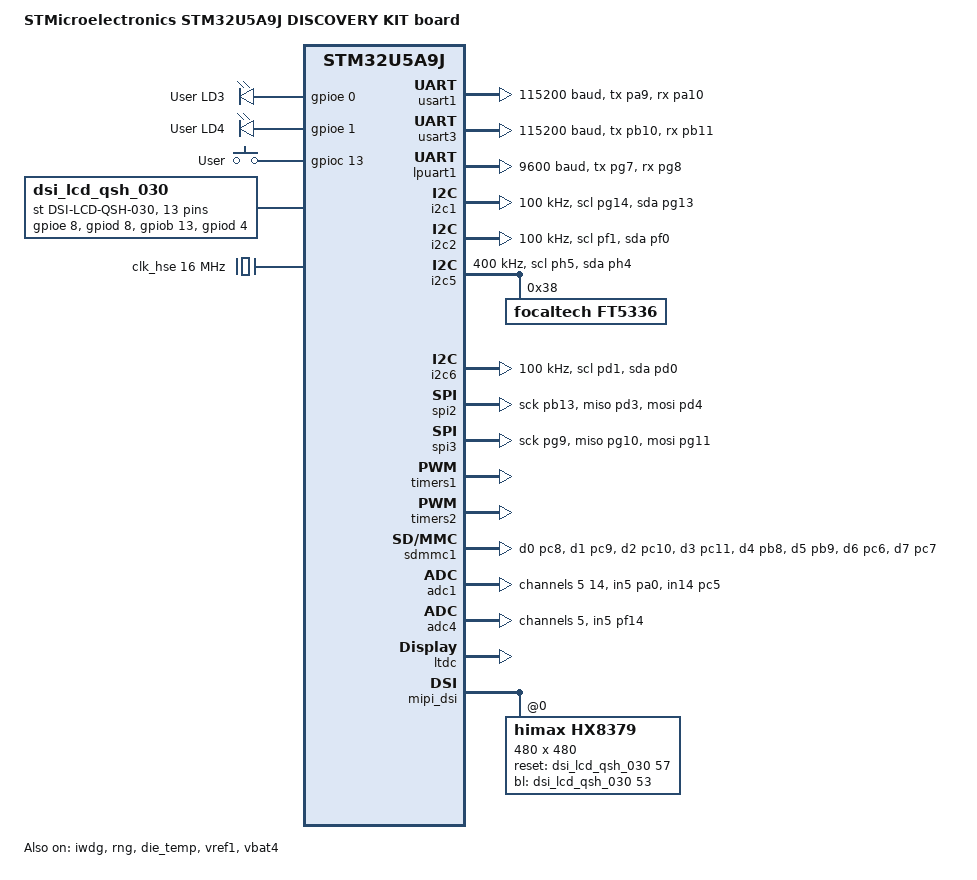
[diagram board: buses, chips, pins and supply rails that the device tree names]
/*
 * Copyright (c) 2024 MUXen <jn.coueron@muxen.fr>
 * Copyright (c) 2023 STMicroelectronics
 *
 * SPDX-License-Identifier: Apache-2.0
 */

/dts-v1/;
#include <st/u5/stm32u5a9Xj.dtsi>
#include <st/u5/stm32u5a9njhxq-pinctrl.dtsi>
#include <zephyr/dt-bindings/input/input-event-codes.h>

/ {
	model = "STMicroelectronics STM32U5A9J DISCOVERY KIT board";
	compatible = "st,stm32u5a9j-dk";

	chosen {
		zephyr,console = &usart1;
		zephyr,shell-uart = &usart1;
		zephyr,sram = &sram0;
		zephyr,flash = &flash0;
		zephyr,code-partition = &slot0_partition;
		zephyr,display = &ltdc;
	};

	leds {
		compatible = "gpio-leds";
		green_led_0: led_3 {
			gpios = <&gpioe 0 GPIO_ACTIVE_HIGH>;
			label = "User LD3";
		};
		red_led_0: led_4 {
			gpios = <&gpioe 1 GPIO_ACTIVE_HIGH>;
			label = "User LD4";
		};
	};

	gpio_keys {
		compatible = "gpio-keys";
		user_button: button_0 {
			label = "User";
			gpios = <&gpioc 13 (GPIO_ACTIVE_HIGH | GPIO_PULL_DOWN)>;
			zephyr,code = <INPUT_KEY_0>;
		};
	};

	dsi_lcd_qsh_030: connector_dsi_lcd {
		compatible = "st,dsi-lcd-qsh-030";
		#gpio-cells = <2>;
		gpio-map-mask = <0xffffffff 0xffffffc0>;
		gpio-map-pass-thru = <0 0x3f>;
		gpio-map = <4 0 &gpioe 8 0>,	/* TOUCH_INT */
			<22 0 &gpiod 8 0>,	/* SPI chip SEL */
			<24 0 &gpiob 13 0>,	/* SPI CLK */
			<26 0 &gpiod 4 0>,	/* SPI MOSI */
			<28 0 &gpiod 11 0>,	/* SPI DCX */
			<35 0 &gpioe 5 0>,	/* SCLK/MCLK */
			<37 0 &gpioe 4 0>,	/* LRCLK */
			<40 0 &gpioh 4 0>,	/* I2C5_SDA */
			<43 0 &gpioi 7 0>,	/* SWIRE */
			<44 0 &gpioh 5 0>,	/* I2C5_SCL */
			<49 0 &gpiof 11 0>,	/* DSI_TE */
			<53 0 &gpioi 6 0>,	/* LCD_BL_CTRL */
			<57 0 &gpiod 5 0>;	/* DSI_RESET */
	};

	aliases {
		led0 = &green_led_0;
		led1 = &red_led_0;
		sw0 = &user_button;
		sdhc0 = &sdmmc1;
		watchdog0 = &iwdg;
		die-temp0 = &die_temp;
		volt-sensor0 = &vref1;
		volt-sensor1 = &vbat4;
	};
};

&clk_hsi48 {
	status = "okay";
};

&clk_hse {
	clock-frequency = <DT_FREQ_M(16)>;
	status = "okay";
};

&clk_msis {
	status = "okay";
	msi-range = <4>; /* 4MHz (reset value) */
	msi-pll-mode;
};

&pll1 {
	div-m = <1>;
	mul-n = <80>;
	div-p = <2>;
	div-q = <2>;
	div-r = <2>;
	clocks = <&clk_msis>;
	status = "okay";
};

&pll3 {
	status = "okay";
	clocks = <&clk_hse>;
	div-m = <4>;
	mul-n = <125>;
	div-p = <8>;
	div-q = <8>;
	div-r = <24>; /* 27.5 MHz */
	fracn = <1>;
};

&rcc {
	clocks = <&pll1>;
	clock-frequency = <DT_FREQ_M(160)>;
	ahb-prescaler = <1>;
	apb1-prescaler = <1>;
	apb2-prescaler = <1>;
	apb3-prescaler = <1>;
};

&usart1 {
	pinctrl-0 = <&usart1_tx_pa9 &usart1_rx_pa10>;
	pinctrl-names = "default";
	current-speed = <115200>;
	status = "okay";
};

uart0: &usart3 {
	pinctrl-0 = <&usart3_tx_pb10 &usart3_rx_pb11>;
	pinctrl-names = "default";
	current-speed = <115200>;
	status = "okay";
};

&lpuart1 {
	pinctrl-0 = <&lpuart1_tx_pg7 &lpuart1_rx_pg8>;
	pinctrl-names = "default";
	current-speed = <9600>;
	status = "okay";
};

&i2c1 {
	pinctrl-0 = <&i2c1_scl_pg14 &i2c1_sda_pg13>;
	pinctrl-names = "default";
	status = "okay";
	clock-frequency = <I2C_BITRATE_STANDARD>;
};

&i2c2 {
	pinctrl-0 = <&i2c2_scl_pf1 &i2c2_sda_pf0>;
	pinctrl-names = "default";
	status = "okay";
	clock-frequency = <I2C_BITRATE_STANDARD>;
};

&i2c5 {
	pinctrl-0 = <&i2c5_scl_ph5 &i2c5_sda_ph4>;
	pinctrl-names = "default";
	clock-frequency = <I2C_BITRATE_FAST>;
	status = "okay";

	ft5336: ft5336@38 {
		compatible = "focaltech,ft5336";
		reg = <0x38>;
	};
};

&i2c6 {
	pinctrl-0 = <&i2c6_scl_pd1 &i2c6_sda_pd0>;
	pinctrl-names = "default";
	status = "okay";
	clock-frequency = <I2C_BITRATE_STANDARD>;
};

&spi2 {
	pinctrl-0 = <&spi2_sck_pb13 &spi2_miso_pd3 &spi2_mosi_pd4>;
	pinctrl-names = "default";
	cs-gpios = <&gpiob 12 (GPIO_ACTIVE_LOW | GPIO_PULL_UP)>;
	status = "okay";
};

&spi3 {
	pinctrl-0 = <&spi3_sck_pg9 &spi3_miso_pg10 &spi3_mosi_pg11>;
	pinctrl-names = "default";
	cs-gpios = <&gpiog 15 (GPIO_ACTIVE_LOW | GPIO_PULL_UP)>;
	status = "okay";
};

&timers1 {
	st,prescaler = <1>;
	status = "okay";

	pwm1: pwm {
		status = "okay";
		pinctrl-0 = <&tim1_ch2_pe11>;
		pinctrl-names = "default";
	};
};

&timers2 {
	st,prescaler = <1>;
	status = "okay";

	pwm2: pwm {
		status = "okay";
		pinctrl-0 = <&tim2_ch4_pa3>;
		pinctrl-names = "default";
	};
};

/* Connected to onboard 4-Gbyte eMMC flash memory */
&sdmmc1 {
	pinctrl-0 = <&sdmmc1_d0_pc8 &sdmmc1_d1_pc9
		&sdmmc1_d2_pc10 &sdmmc1_d3_pc11
		&sdmmc1_d4_pb8 &sdmmc1_d5_pb9
		&sdmmc1_d6_pc6 &sdmmc1_d7_pc7
		&sdmmc1_ck_pc12 &sdmmc1_cmd_pd2>;
	pinctrl-names = "default";
	status = "okay";
};

&adc1 {
	pinctrl-0 = <&adc1_in5_pa0 &adc1_in14_pc5>;
	pinctrl-names = "default";
	st,adc-clock-source = <ASYNC>;
	st,adc-prescaler = <1>;
	status = "okay";

	#address-cells = <1>;
	#size-cells = <0>;

	channel@5 {
		reg = <0x5>;
		zephyr,gain = "ADC_GAIN_1";
		zephyr,reference = "ADC_REF_INTERNAL";
		zephyr,acquisition-time = <ADC_ACQ_TIME_DEFAULT>;
		zephyr,resolution = <14>;
	};

	channel@e {
		reg = <0xe>;
		zephyr,gain = "ADC_GAIN_1";
		zephyr,reference = "ADC_REF_INTERNAL";
		zephyr,acquisition-time = <ADC_ACQ_TIME_DEFAULT>;
		zephyr,resolution = <14>;
	};
};

&adc4 {
	pinctrl-0 = <&adc4_in5_pf14>;
	pinctrl-names = "default";
	st,adc-clock-source = <ASYNC>;
	st,adc-prescaler = <1>;
	status = "okay";

	#address-cells = <1>;
	#size-cells = <0>;

	channel@5 {
		reg = <0x5>;
		zephyr,gain = "ADC_GAIN_1";
		zephyr,reference = "ADC_REF_INTERNAL";
		zephyr,acquisition-time = <ADC_ACQ_TIME_DEFAULT>;
		zephyr,resolution = <12>;
	};
};

&flash0 {
	partitions {
		compatible = "fixed-partitions";
		#address-cells = <1>;
		#size-cells = <1>;

		/*
		 * Following flash partition is dedicated to the use of bootloader
		 */
		boot_partition: partition@0 {
			label = "mcuboot";
			reg = <0x00000000 DT_SIZE_K(64)>;
		};
		slot0_partition: partition@10000 {
			label = "image-0";
			reg = <0x00010000 DT_SIZE_K(1952)>;
		};
		slot1_partition: partition@1f8000 {
			label = "image-1";
			reg = <0x001f8000 DT_SIZE_K(1960)>;
		};
		storage_partition: partition@3e2000 {
			label = "storage";
			reg = <0x003e2000 DT_SIZE_K(120)>;
		};
	};
};

&iwdg {
	status = "okay";
};

&rng {
	status = "okay";
};

&die_temp {
	status = "okay";
};

&vref1 {
	status = "okay";
};

&vbat4 {
	status = "okay";
};

&ltdc {
	status = "okay";

	// st, mb1835b 
	width = <480>;
	height = <480>;
	display-timings {
		compatible = "zephyr,panel-timing";
		hsync-active = <0>;
		vsync-active = <0>;
		de-active = <0>;
		pixelclk-active = <0>;
		hsync-len = <1>;
		vsync-len = <2>;
		hback-porch = <1>;
		vback-porch = <12>;
		hfront-porch = <1>;
		vfront-porch = <50>;
		
	};

	def-back-color-red = <0>;
	def-back-color-green = <0>;
	def-back-color-blue = <0>;
	pixel-format = <PANEL_PIXEL_FORMAT_RGB_888>;
};

&mipi_dsi {
	status = "okay";

	/*
	 * DSI HOST dedicated PLL
	 *
	 * F_VCO = CLK_IN / pll-idf * 2 * pll-ndiv
	 * F_VCO = 16 MHz / 4       * 2 * 125 = 1000 MHz
	 * lane_byte_clk = F_VCO / pll-odf / 8
	 * lane_byte_clk = 1000 Mhz / 2 / 8 = 62.5 MHz
	 */
	pll-ndiv = <125>;
	pll-idf = <4>;
	pll-odf = <2>;
	
	host-timeouts = <01 00 00 00 00 00 00 00 00>;
	phy-timings = <11 40 12 23 0 7>;

	vs-active-high;
	hs-active-high;
	de-active-high;
	LooselyPacked;
	LPLargestPacketSize = <64>;
	LPVACTLargestPacketSize = <0>;
	FrameBTAAcknowledgeEnable;
	
	hx8379: hx8379@0 {
		status = "okay";
		compatible = "himax,hx8379";
		reg = <0x0>;
		reset-gpios = <&dsi_lcd_qsh_030 57 GPIO_ACTIVE_HIGH>;
		bl-gpios = <&dsi_lcd_qsh_030 53 GPIO_ACTIVE_HIGH>;
		data-lanes = <2>;
		width = <480>;
		height = <480>;
		pixel-format = <MIPI_DSI_PIXFMT_RGB888>;
	};
};
